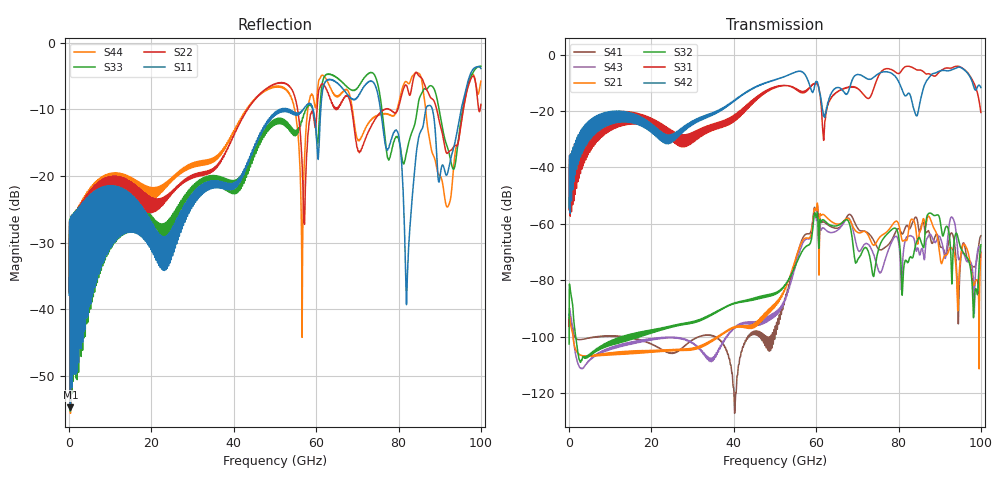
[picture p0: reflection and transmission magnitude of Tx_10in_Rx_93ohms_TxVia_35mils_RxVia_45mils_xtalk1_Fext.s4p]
! Info: Touchstone file created by Circ.  Input file=Tx_10in_Rx_93ohms_TxVia_35mils_RxVia_45mils.circ
# Hz S RI R 50
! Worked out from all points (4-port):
!   10000 points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, 10 MHz to 100 GHz, reference 50 ohm
!   strongest paths, dB at 10 MHz, 25.01 GHz, 50.01 GHz, 75.01 GHz, 100 GHz:
!     S42: -54.3, -29.6, -8.9, -6.9, -11.7
!     S31: -55.0, -30.0, -11.4, -8.0, -20.5
!     S32: -102.6, -96.2, -85.0, -69.7, -67.4
!     S21: -94.0, -104.6, -89.4, -65.5, -70.4
!     S43: -93.2, -100.3, -92.8, -75.9, -70.2
!     S41: -93.7, -105.9, -97.4, -68.6, -64.2
!   lowest |S11| = -54.8 dB at 330 MHz (marker M1), VSWR 1.00, Z = 49.9 - j0.169 ohm
!   |S11| at or under -10 dB: start of sweep to 51.22 GHz; 75.64 GHz to 86.61 GHz (10.98 GHz wide, 13.5 % of centre); 88.23 GHz to 95.21 GHz (6.976 GHz wide, 7.61 % of centre)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
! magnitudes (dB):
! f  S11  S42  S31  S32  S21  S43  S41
! 10 MHz  -37.9  -54.3  -55.0  -102.6  -94.0  -93.2  -93.7
! 330 MHz  -54.8  -41.8  -41.8  -83.7  -95.5  -92.0  -94.2
! 52.83 GHz  -9.9  -7.5  -11.0  -81.0  -81.8  -85.6  -85.3
! 63.35 GHz  -5.5  -14.8  -15.9  -60.4  -58.8  -63.0  -60.8
! 82.04 GHz  -37.3  -14.2  -4.1  -73.4  -65.8  -64.6  -60.5
! 91.91 GHz  -19.6  -5.8  -4.7  -61.2  -70.6  -65.4  -68.7
! 100 GHz  -3.8  -11.7  -20.5  -67.4  -70.4  -70.2  -64.2
